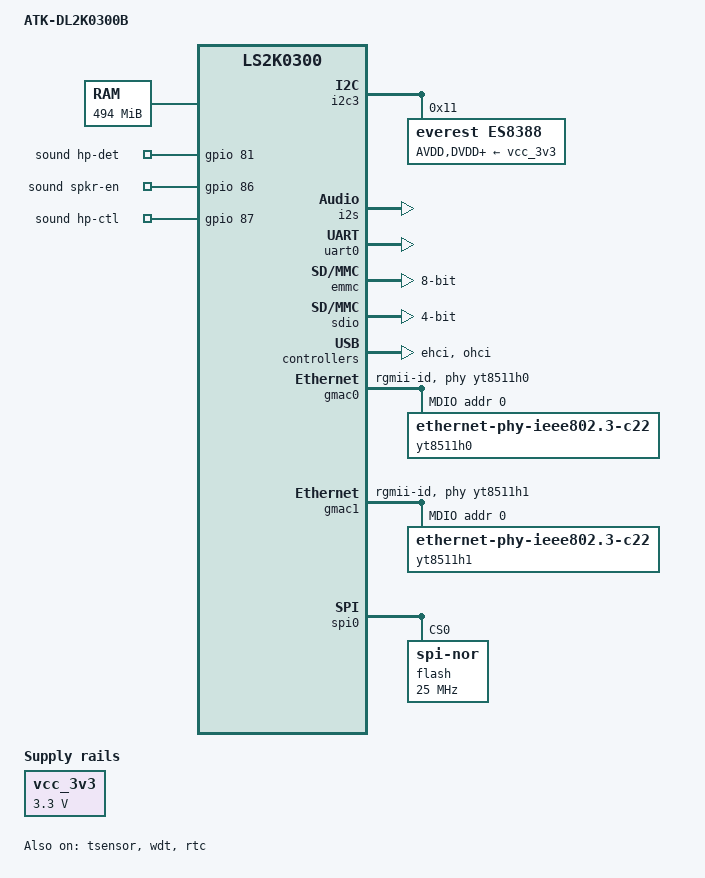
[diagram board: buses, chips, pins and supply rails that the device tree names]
// SPDX-License-Identifier: GPL-2.0
/*
 * Copyright (C) 2025 Loongson Technology Corporation Limited
 */

/dts-v1/;

#include <dt-bindings/gpio/gpio.h>

#include "loongson-2k0300.dtsi"

/ {
	compatible = "alientek,dl2k0300b", "loongson,ls2k0300";
	model = "ATK-DL2K0300B";

	aliases {
		serial0 = &uart0;
	};

	chosen {
		stdout-path = "serial0:115200n8";
	};

	memory@200000 {
		device_type = "memory";
		reg =  <0 0x00200000 0 0x0ee00000
			0 0x90000000 0 0x10000000>;
	};

	reserved-memory {
		#address-cells = <2>;
		#size-cells = <2>;
		ranges;

		linux,cma {
			compatible = "shared-dma-pool";
			reusable;
			size = <0 0x02000000>;
			linux,cma-default;
		};
	};

	sound {
		compatible = "loongson,ls2k0300-dl2k0300b-audio-card";
		model = "Loongson-ASoC";
		mclk-fs = <512>;
		loongson,hp-det-gpios = <&gpio 81 GPIO_ACTIVE_HIGH>;
		loongson,spkr-en-gpios = <&gpio 86 GPIO_ACTIVE_HIGH>;
		loongson,hp-ctl-gpios = <&gpio 87 GPIO_ACTIVE_HIGH>;
		audio-routing =
                        "Headphone", "LOUT1",
                        "Headphone", "ROUT1",
                        "Speaker", "LOUT2",
                        "Speaker", "ROUT2";

		cpu {
			sound-dai = <&i2s>;
		};

		codec {
			sound-dai = <&es8388>;
		};
	};

	vcc_3v3: regulator-vcc-3v3 {
		compatible = "regulator-fixed";
		regulator-name = "VCC_3V3";
		regulator-min-microvolt = <3300000>;
		regulator-max-microvolt = <3300000>;
		regulator-always-on;
		regulator-boot-on;
	};

	es8388_clk: es8388-clock {
		compatible = "fixed-clock";
		clock-frequency = <12288000>;
		#clock-cells = <0>;
	};

	thermal-zones {
		cpu-thermal {
			polling-delay-passive = <1000>;
			polling-delay = <5000>;
			thermal-sensors = <&tsensor 0>;

			trips {
				cpu_alert: cpu-alert {
					temperature = <75000>;
					hysteresis = <5000>;
					type = "active";
				};

				cpu_crit: cpu-crit {
					temperature = <105000>;
					hysteresis = <5000>;
					type = "critical";
				};
			};
		};
	};
};

&tsensor {
	status = "okay";
};

&i2c3 {
	status = "okay";

	pinctrl-0 = <&i2c3_pins>;
	pinctrl-names = "default";

	#address-cells = <1>;
	#size-cells = <0>;

	es8388: es8388@11 {
		compatible = "everest,es8388", "everest,es8328";
		reg = <0x11>;
		clocks = <&es8388_clk>;
		AVDD-supply = <&vcc_3v3>;
		DVDD-supply = <&vcc_3v3>;
		HPVDD-supply = <&vcc_3v3>;
		PVDD-supply = <&vcc_3v3>;
		#sound-dai-cells = <0>;
	};
};

&dma {
	status = "okay";
};

&i2s {
	status = "okay";

	pinctrl-0 = <&i2s_pins>;
	pinctrl-names = "default";

	dmas =  <&dma 7 0xbf>, <&dma 6 0xaf>;
	dma-names = "tx", "rx";
};

&uart0 {
	status = "okay";

	pinctrl-0 = <&uart0_pins>;
	pinctrl-names = "default";
};

&emmc {
	status = "okay";

	cap-mmc-highspeed;
	no-sd;
	no-sdio;
	bus-width = <8>;
};

&sdio {
	status = "okay";

	cap-sd-highspeed;
	cap-mmc-highspeed;
	bus-width = <4>;
};

&wdt {
	status = "okay";
};

&ehci {
	status = "okay";
};

&ohci {
	status = "okay";
};

&gmac0 {
        status = "okay";

	phy-mode = "rgmii-id";
	snps,pbl = <32>;
        phy-handle = <&yt8511h0>;
        mdio {
                compatible = "snps,dwmac-mdio";
                #address-cells = <1>;
                #size-cells = <0>;

                yt8511h0: ethernet-phy@0 {
                        compatible = "ethernet-phy-ieee802.3-c22";
                        reg = <0>;
                        motorcomm,led0_cfg = <0x40>; //千兆常亮
                        motorcomm,led1_cfg = <0x30>; //百兆 十兆常亮
                        motorcomm,led2_cfg = <0x2600>; //有数据时闪烁
                };
        };
};

&gmac1 {
        status = "okay";

	phy-mode = "rgmii-id";
	snps,pbl = <32>;
        phy-handle = <&yt8511h1>;
        mdio {
                compatible = "snps,dwmac-mdio";
                #address-cells = <1>;
                #size-cells = <0>;

                yt8511h1: ethernet-phy@1 {
                        compatible = "ethernet-phy-ieee802.3-c22";
                        reg = <0>;
                        motorcomm,led0_cfg = <0x40>; //千兆常亮
                        motorcomm,led1_cfg = <0x30>; //百兆 十兆常亮
                        motorcomm,led2_cfg = <0x2600>; //有数据时闪烁
                };
        };
};

&rtc {
        status = "okay";
};

&spi0 {
	status = "okay";

	#address-cells = <1>;
	#size-cells = <0>;

	flash@0 {
		compatible = "jedec,spi-nor";
		spi-max-frequency = <25000000>;
		reg = <0>;
	};
};

&pinctrl {
	func-uart {
		uart0_pins: uart0-pins {
			pinmux = <PINMUX(40, 0x3)>,
				 <PINMUX(41, 0x3)>;
		};
	};

	func-timer {
		i2c3_pins: i2c3-pins {
			pinmux = <PINMUX(84, 0x2)>,
				 <PINMUX(85, 0x2)>;
		};
	};

	func-i2s {
		i2s_pins: i2s-pins {
			pinmux = <PINMUX(76, 0x3)>,
				 <PINMUX(77, 0x3)>,
				 <PINMUX(78, 0x3)>,
				 <PINMUX(79, 0x3)>,
				 <PINMUX(80, 0x3)>;
		};
	};
};
